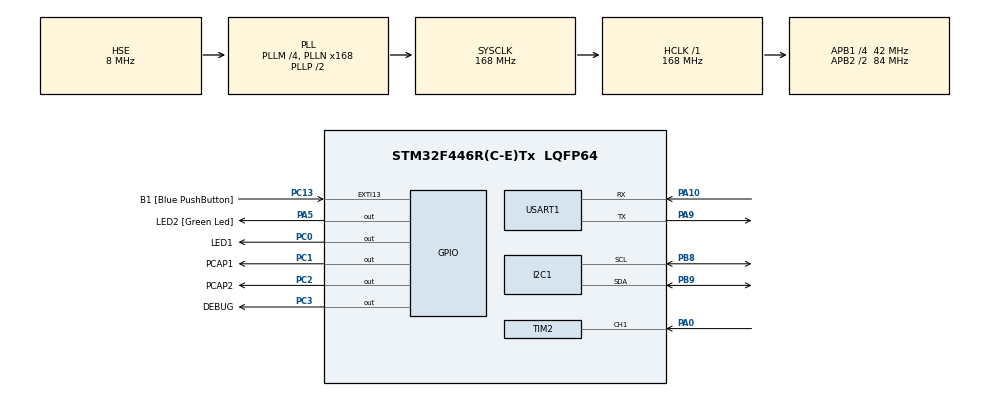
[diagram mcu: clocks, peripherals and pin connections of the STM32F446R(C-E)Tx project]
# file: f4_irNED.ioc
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Dma.Request0=USART1_TX
Dma.Request1=TIM2_CH1
Dma.TIM2_CH1.1.Direction=DMA_PERIPH_TO_MEMORY
Dma.TIM2_CH1.1.FIFOMode=DMA_FIFOMODE_DISABLE
Dma.TIM2_CH1.1.Instance=DMA1_Stream5
Dma.TIM2_CH1.1.MemDataAlignment=DMA_MDATAALIGN_WORD
Dma.TIM2_CH1.1.MemInc=DMA_MINC_ENABLE
Dma.TIM2_CH1.1.Mode=DMA_NORMAL
Dma.TIM2_CH1.1.PeriphDataAlignment=DMA_PDATAALIGN_WORD
Dma.TIM2_CH1.1.PeriphInc=DMA_PINC_DISABLE
Dma.TIM2_CH1.1.Priority=DMA_PRIORITY_MEDIUM
Dma.USART1_TX.0.Direction=DMA_MEMORY_TO_PERIPH
Dma.USART1_TX.0.FIFOMode=DMA_FIFOMODE_DISABLE
Dma.USART1_TX.0.Instance=DMA2_Stream7
Dma.USART1_TX.0.MemDataAlignment=DMA_MDATAALIGN_BYTE
Dma.USART1_TX.0.MemInc=DMA_MINC_ENABLE
Dma.USART1_TX.0.Mode=DMA_NORMAL
Dma.USART1_TX.0.PeriphDataAlignment=DMA_PDATAALIGN_BYTE
Dma.USART1_TX.0.PeriphInc=DMA_PINC_DISABLE
Dma.USART1_TX.0.Priority=DMA_PRIORITY_MEDIUM
FREERTOS.Tasks01=defaultTask,0,128,StartDefaultTask,Default,NULL
I2C1.I2C_Mode=I2C_Fast
Mcu.Family=STM32F4
Mcu.Name=STM32F446R(C-E)Tx
Mcu.Package=LQFP64
NVIC.DMA1_Stream5_IRQn=true\:5\:0\:false\:false\:true\:true
NVIC.DMA2_Stream7_IRQn=true\:5\:0\:false\:false\:true\:true
NVIC.PriorityGroup=NVIC_PRIORITYGROUP_4
NVIC.TIM1_UP_TIM10_IRQn=true\:0\:0\:false\:false\:true\:false
NVIC.TIM2_IRQn=true\:5\:0\:false\:false\:true\:true
NVIC.TimeBase=TIM1_UP_TIM10_IRQn
NVIC.TimeBaseIP=TIM10
PA0-WKUP.GPIO_Speed=GPIO_SPEED_FREQ_HIGH
PA0-WKUP.Signal=S_TIM2_CH1_ETR
PA10.Mode=Asynchronous
PA10.Signal=USART1_RX
PA13.GPIO_Label=TMS
PA13.Mode=Serial_Wire
PA13.Signal=SYS_JTMS-SWDIO
PA14.GPIO_Label=TCK
PA14.Mode=Serial_Wire
PA14.Signal=SYS_JTCK-SWCLK
PA2.GPIO_Label=USART_TX
PA2.Signal=USART2_TX
PA3.GPIO_Label=USART_RX
PA3.Signal=USART2_RX
PA5.GPIO_Label=LED2 [Green Led]
PA5.GPIO_Speed=GPIO_SPEED_FREQ_HIGH
PA5.Signal=GPIO_Output
PA9.Mode=Asynchronous
PA9.Signal=USART1_TX
PB3.GPIO_Label=SWO
PB3.Signal=SYS_JTDO-SWO
PB8.Mode=I2C
PB8.Signal=I2C1_SCL
PB9.Mode=I2C
PB9.Signal=I2C1_SDA
PC0.GPIO_Label=LED1
PC0.GPIO_Speed=GPIO_SPEED_FREQ_HIGH
PC0.Signal=GPIO_Output
PC1.GPIO_Label=PCAP1
PC1.GPIO_Speed=GPIO_SPEED_FREQ_HIGH
PC1.Signal=GPIO_Output
PC13.GPIO_Label=B1 [Blue PushButton]
PC13.GPIO_ModeDefaultEXTI=GPIO_MODE_IT_FALLING
PC13.Signal=GPXTI13
PC14-OSC32_IN.Signal=RCC_OSC32_IN
PC15-OSC32_OUT.Signal=RCC_OSC32_OUT
PC2.GPIO_Label=PCAP2
PC2.GPIO_Speed=GPIO_SPEED_FREQ_HIGH
PC2.Signal=GPIO_Output
PC3.GPIO_Label=DEBUG
PC3.GPIO_Speed=GPIO_SPEED_FREQ_HIGH
PC3.Signal=GPIO_Output
PH0-OSC_IN.Mode=HSE-External-Oscillator
PH0-OSC_IN.Signal=RCC_OSC_IN
PH1-OSC_OUT.Mode=HSE-External-Oscillator
PH1-OSC_OUT.Signal=RCC_OSC_OUT
ProjectManager.HeapSize=0x200
ProjectManager.StackSize=0x400
ProjectManager.TargetToolchain=SW4STM32
RCC.AHBFreq_Value=168000000
RCC.APB1CLKDivider=RCC_HCLK_DIV4
RCC.APB1Freq_Value=42000000
RCC.APB1TimFreq_Value=84000000
RCC.APB2CLKDivider=RCC_HCLK_DIV2
RCC.APB2Freq_Value=84000000
RCC.APB2TimFreq_Value=168000000
RCC.CortexFreq_Value=168000000
RCC.FLatency-AdvancedSettings=FLASH_LATENCY_5
RCC.HCLKFreq_Value=168000000
RCC.HSE_VALUE=8000000
RCC.HSI_VALUE=16000000
RCC.LSE_VALUE=32768
RCC.PLLM=4
RCC.PLLN=168
RCC.PLLSourceVirtual=RCC_PLLSOURCE_HSE
RCC.SYSCLKFreq_VALUE=168000000
RCC.SYSCLKSource=RCC_SYSCLKSOURCE_PLLCLK
RCC.USBFreq_Value=168000000
RCC.VCOOutputFreq_Value=336000000
SH.S_TIM2_CH1_ETR.0=TIM2_CH1,Input_Capture1_from_TI1
SH.S_TIM2_CH1_ETR.1=TIM2_CH1,TriggerSource_TI1FP1
TIM2.Channel-Input_Capture1_from_TI1=TIM_CHANNEL_1
TIM2.ICPolarity_CH1=TIM_INPUTCHANNELPOLARITY_FALLING
TIM2.Period=0xffffffff
TIM2.Prescaler=83
USART1.VirtualMode=VM_ASYNC
VP_FREERTOS_VS_ENABLE.Mode=Enabled
VP_RTC_VS_RTC_Activate.Mode=RTC_Enabled
VP_SYS_VS_tim10.Mode=TIM10
VP_TIM2_VS_ClockSourceINT.Mode=Internal
VP_TIM2_VS_ControllerModeReset.Mode=Reset Mode
board=NUCLEO-F446RE

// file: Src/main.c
/**
  ******************************************************************************
  * File Name          : main.c
  * Description        : Main program body
  ******************************************************************************
  * This notice applies to any and all portions of this file
  * that are not between comment pairs USER CODE BEGIN and
  * USER CODE END. Other portions of this file, whether
  * inserted by the user or by software development tools
  * are owned by their respective copyright owners.
  *
  * Copyright (c) 2017 STMicroelectronics International N.V.
  * All rights reserved.
  *
  * Redistribution and use in source and binary forms, with or without
  * modification, are permitted, provided that the following conditions are met:
  *
  * 1. Redistribution of source code must retain the above copyright notice,
  *    this list of conditions and the following disclaimer.
  * 2. Redistributions in binary form must reproduce the above copyright notice,
  *    this list of conditions and the following disclaimer in the documentation
  *    and/or other materials provided with the distribution.
  * 3. Neither the name of STMicroelectronics nor the names of other
  *    contributors to this software may be used to endorse or promote products
  *    derived from this software without specific written permission.
  * 4. This software, including modifications and/or derivative works of this
  *    software, must execute solely and exclusively on microcontroller or
  *    microprocessor devices manufactured by or for STMicroelectronics.
  * 5. Redistribution and use of this software other than as permitted under
  *    this license is void and will automatically terminate your rights under
  *    this license.
  *
  * THIS SOFTWARE IS PROVIDED BY STMICROELECTRONICS AND CONTRIBUTORS "AS IS"
  * AND ANY EXPRESS, IMPLIED OR STATUTORY WARRANTIES, INCLUDING, BUT NOT
  * LIMITED TO, THE IMPLIED WARRANTIES OF MERCHANTABILITY, FITNESS FOR A
  * PARTICULAR PURPOSE AND NON-INFRINGEMENT OF THIRD PARTY INTELLECTUAL PROPERTY
  * RIGHTS ARE DISCLAIMED TO THE FULLEST EXTENT PERMITTED BY LAW. IN NO EVENT
  * SHALL STMICROELECTRONICS OR CONTRIBUTORS BE LIABLE FOR ANY DIRECT, INDIRECT,
  * INCIDENTAL, SPECIAL, EXEMPLARY, OR CONSEQUENTIAL DAMAGES (INCLUDING, BUT NOT
  * LIMITED TO, PROCUREMENT OF SUBSTITUTE GOODS OR SERVICES; LOSS OF USE, DATA,
  * OR PROFITS; OR BUSINESS INTERRUPTION) HOWEVER CAUSED AND ON ANY THEORY OF
  * LIABILITY, WHETHER IN CONTRACT, STRICT LIABILITY, OR TORT (INCLUDING
  * NEGLIGENCE OR OTHERWISE) ARISING IN ANY WAY OUT OF THE USE OF THIS SOFTWARE,
  * EVEN IF ADVISED OF THE POSSIBILITY OF SUCH DAMAGE.
  *
  ******************************************************************************
  */
#include "main.h"
#include "stm32f4xx_hal.h"
#include "cmsis_os.h"

/* USER CODE BEGIN Includes */
#include <string.h>
#include "../App/Project_App.h"

/* USER CODE END Includes */

I2C_HandleTypeDef hi2c1;

RTC_HandleTypeDef hrtc;

TIM_HandleTypeDef htim2;
DMA_HandleTypeDef hdma_tim2_ch1;

UART_HandleTypeDef huart1;
DMA_HandleTypeDef hdma_usart1_tx;

osThreadId defaultTaskHandle;

/* USER CODE BEGIN PV */
/* Private variables ---------------------------------------------------------*/
IR_handle_type_def *nec;
osThreadId myEventLogTaskHandle;
/* USER CODE END PV */

void SystemClock_Config(void);
static void MX_GPIO_Init(void);
static void MX_DMA_Init(void);
static void MX_RTC_Init(void);
static void MX_TIM2_Init(void);
static void MX_USART1_UART_Init(void);
static void MX_I2C1_Init(void);
void StartDefaultTask(void const * argument);

/* USER CODE BEGIN PFP */
/* Private function prototypes -----------------------------------------------*/

/* USER CODE END PFP */

/* USER CODE BEGIN 0 */
void myNecDecodedCallback(uint8_t* data, uint8_t len) {
    HAL_GPIO_TogglePin(LED1_GPIO_Port, LED1_Pin);
    LogOut("IR Code:");
	LCD_SetPos(0,1);
    uint8_t* pstr;
    for(int i=0;i<len;i++){
    	pstr = LogOut("%d ",data[i]);
    	LCD_String(pstr);
    }
    osDelay(10);
}

void myNecErrorCallback() {
	LogOutStr("Error!\n\r");
    HAL_Delay(10);
}

void myNecRepeatCallback() {
	LogOutStr("Repeat!\n\r");
    HAL_Delay(10);
}

/* USER CODE END 0 */

int main(void)
{

  /* MCU Configuration----------------------------------------------------------*/

  /* Reset of all peripherals, Initializes the Flash interface and the Systick. */
  HAL_Init();

  /* Configure the system clock */
  SystemClock_Config();

  /* Initialize all configured peripherals */
  MX_GPIO_Init();
  MX_DMA_Init();
  MX_RTC_Init();
  MX_TIM2_Init();
  MX_USART1_UART_Init();
  MX_I2C1_Init();

  /* USER CODE BEGIN 2 */
  	InitLogDev(&huart1);
	LogOutStr("Start!\n\r");
	LCD_ini(&hi2c1,0x7e);
	LCD_Clear();
	LCD_SetPos(0,0);
	LCD_String("Start!");
	nec = Get_IR_handle();

	nec->IR_GPIO_PORT = GPIOA;
	nec->IR_GPIO_PIN = GPIO_PIN_0;
	nec->IR_DecodedCallback = myNecDecodedCallback;
	nec->IR_ErrorCallback = myNecErrorCallback;
	nec->IR_RepeatCallback = myNecRepeatCallback;
	Init_IR(&htim2,NEC_DEC);

	LogOutStr("Init complete!\r\n");
    NEC_Read(nec);

  /* USER CODE END 2 */

  /* Create the thread(s) */
  /* definition and creation of defaultTask */
  osThreadDef(defaultTask, StartDefaultTask, osPriorityNormal, 0, 128);
  defaultTaskHandle = osThreadCreate(osThread(defaultTask), NULL);

  /* USER CODE BEGIN RTOS_THREADS */
  /* add threads, ... */
  osThreadDef(myEventLogTask, StartLoopIR, osPriorityNormal, 0, 128);
  myEventLogTaskHandle = osThreadCreate(osThread(myEventLogTask), NULL);
  /* USER CODE END RTOS_THREADS */

  /* Start scheduler */
  osKernelStart();

  /* We should never get here as control is now taken by the scheduler */

  /* Infinite loop */
  while (1)
  {

  /* USER CODE BEGIN 3 */
        HAL_GPIO_TogglePin(GPIOD, GPIO_PIN_12);
        HAL_Delay(100);
        HAL_GPIO_TogglePin(GPIOD, GPIO_PIN_13);
        HAL_Delay(100);

  }
  /* USER CODE END 3 */

}

/** System Clock Configuration
*/
void SystemClock_Config(void)
{

  RCC_OscInitTypeDef RCC_OscInitStruct;
  RCC_ClkInitTypeDef RCC_ClkInitStruct;
  RCC_PeriphCLKInitTypeDef PeriphClkInitStruct;

    /**Configure the main internal regulator output voltage
    */
  __HAL_RCC_PWR_CLK_ENABLE();

  __HAL_PWR_VOLTAGESCALING_CONFIG(PWR_REGULATOR_VOLTAGE_SCALE1);

    /**Initializes the CPU, AHB and APB busses clocks
    */
  RCC_OscInitStruct.OscillatorType = RCC_OSCILLATORTYPE_LSI|RCC_OSCILLATORTYPE_HSE;
  RCC_OscInitStruct.HSEState = RCC_HSE_ON;
  RCC_OscInitStruct.LSEState = RCC_LSE_OFF;
  RCC_OscInitStruct.LSIState = RCC_LSI_ON;
  RCC_OscInitStruct.PLL.PLLState = RCC_PLL_ON;
  RCC_OscInitStruct.PLL.PLLSource = RCC_PLLSOURCE_HSE;
  RCC_OscInitStruct.PLL.PLLM = 4;
  RCC_OscInitStruct.PLL.PLLN = 168;
  RCC_OscInitStruct.PLL.PLLP = RCC_PLLP_DIV2;
  RCC_OscInitStruct.PLL.PLLQ = 2;
  RCC_OscInitStruct.PLL.PLLR = 2;
  if (HAL_RCC_OscConfig(&RCC_OscInitStruct) != HAL_OK)
  {
    _Error_Handler(__FILE__, __LINE__);
  }

    /**Initializes the CPU, AHB and APB busses clocks
    */
  RCC_ClkInitStruct.ClockType = RCC_CLOCKTYPE_HCLK|RCC_CLOCKTYPE_SYSCLK
                              |RCC_CLOCKTYPE_PCLK1|RCC_CLOCKTYPE_PCLK2;
  RCC_ClkInitStruct.SYSCLKSource = RCC_SYSCLKSOURCE_PLLCLK;
  RCC_ClkInitStruct.AHBCLKDivider = RCC_SYSCLK_DIV1;
  RCC_ClkInitStruct.APB1CLKDivider = RCC_HCLK_DIV4;
  RCC_ClkInitStruct.APB2CLKDivider = RCC_HCLK_DIV2;

  if (HAL_RCC_ClockConfig(&RCC_ClkInitStruct, FLASH_LATENCY_5) != HAL_OK)
  {
    _Error_Handler(__FILE__, __LINE__);
  }

  PeriphClkInitStruct.PeriphClockSelection = RCC_PERIPHCLK_RTC;
  PeriphClkInitStruct.RTCClockSelection = RCC_RTCCLKSOURCE_LSI;
  if (HAL_RCCEx_PeriphCLKConfig(&PeriphClkInitStruct) != HAL_OK)
  {
    _Error_Handler(__FILE__, __LINE__);
  }

    /**Configure the Systick interrupt time
    */
  HAL_SYSTICK_Config(HAL_RCC_GetHCLKFreq()/1000);

    /**Configure the Systick
    */
  HAL_SYSTICK_CLKSourceConfig(SYSTICK_CLKSOURCE_HCLK);

  /* SysTick_IRQn interrupt configuration */
  HAL_NVIC_SetPriority(SysTick_IRQn, 15, 0);
}

/* I2C1 init function */
static void MX_I2C1_Init(void)
{

  hi2c1.Instance = I2C1;
  hi2c1.Init.ClockSpeed = 400000;
  hi2c1.Init.DutyCycle = I2C_DUTYCYCLE_2;
  hi2c1.Init.OwnAddress1 = 0;
  hi2c1.Init.AddressingMode = I2C_ADDRESSINGMODE_7BIT;
  hi2c1.Init.DualAddressMode = I2C_DUALADDRESS_DISABLE;
  hi2c1.Init.OwnAddress2 = 0;
  hi2c1.Init.GeneralCallMode = I2C_GENERALCALL_DISABLE;
  hi2c1.Init.NoStretchMode = I2C_NOSTRETCH_DISABLE;
  if (HAL_I2C_Init(&hi2c1) != HAL_OK)
  {
    _Error_Handler(__FILE__, __LINE__);
  }

}

/* RTC init function */
static void MX_RTC_Init(void)
{

    /**Initialize RTC Only
    */
  hrtc.Instance = RTC;
  hrtc.Init.HourFormat = RTC_HOURFORMAT_24;
  hrtc.Init.AsynchPrediv = 127;
  hrtc.Init.SynchPrediv = 255;
  hrtc.Init.OutPut = RTC_OUTPUT_DISABLE;
  hrtc.Init.OutPutPolarity = RTC_OUTPUT_POLARITY_HIGH;
  hrtc.Init.OutPutType = RTC_OUTPUT_TYPE_OPENDRAIN;
  if (HAL_RTC_Init(&hrtc) != HAL_OK)
  {
    _Error_Handler(__FILE__, __LINE__);
  }

}

/* TIM2 init function */
static void MX_TIM2_Init(void)
{

  TIM_ClockConfigTypeDef sClockSourceConfig;
  TIM_SlaveConfigTypeDef sSlaveConfig;
  TIM_MasterConfigTypeDef sMasterConfig;
  TIM_IC_InitTypeDef sConfigIC;

  htim2.Instance = TIM2;
  htim2.Init.Prescaler = 83;
  htim2.Init.CounterMode = TIM_COUNTERMODE_UP;
  htim2.Init.Period = 0xffffffff;
  htim2.Init.ClockDivision = TIM_CLOCKDIVISION_DIV1;
  if (HAL_TIM_Base_Init(&htim2) != HAL_OK)
  {
    _Error_Handler(__FILE__, __LINE__);
  }

  sClockSourceConfig.ClockSource = TIM_CLOCKSOURCE_INTERNAL;
  if (HAL_TIM_ConfigClockSource(&htim2, &sClockSourceConfig) != HAL_OK)
  {
    _Error_Handler(__FILE__, __LINE__);
  }

  if (HAL_TIM_IC_Init(&htim2) != HAL_OK)
  {
    _Error_Handler(__FILE__, __LINE__);
  }

  sSlaveConfig.SlaveMode = TIM_SLAVEMODE_RESET;
  sSlaveConfig.InputTrigger = TIM_TS_TI1FP1;
  sSlaveConfig.TriggerPolarity = TIM_INPUTCHANNELPOLARITY_FALLING;
  sSlaveConfig.TriggerFilter = 0;
  if (HAL_TIM_SlaveConfigSynchronization(&htim2, &sSlaveConfig) != HAL_OK)
  {
    _Error_Handler(__FILE__, __LINE__);
  }

  sMasterConfig.MasterOutputTrigger = TIM_TRGO_RESET;
  sMasterConfig.MasterSlaveMode = TIM_MASTERSLAVEMODE_DISABLE;
  if (HAL_TIMEx_MasterConfigSynchronization(&htim2, &sMasterConfig) != HAL_OK)
  {
    _Error_Handler(__FILE__, __LINE__);
  }

  sConfigIC.ICPolarity = TIM_INPUTCHANNELPOLARITY_FALLING;
  sConfigIC.ICSelection = TIM_ICSELECTION_DIRECTTI;
  sConfigIC.ICPrescaler = TIM_ICPSC_DIV1;
  sConfigIC.ICFilter = 0;
  if (HAL_TIM_IC_ConfigChannel(&htim2, &sConfigIC, TIM_CHANNEL_1) != HAL_OK)
  {
    _Error_Handler(__FILE__, __LINE__);
  }

}

/* USART1 init function */
static void MX_USART1_UART_Init(void)
{

  huart1.Instance = USART1;
  huart1.Init.BaudRate = 115200;
  huart1.Init.WordLength = UART_WORDLENGTH_8B;
  huart1.Init.StopBits = UART_STOPBITS_1;
  huart1.Init.Parity = UART_PARITY_NONE;
  huart1.Init.Mode = UART_MODE_TX_RX;
  huart1.Init.HwFlowCtl = UART_HWCONTROL_NONE;
  huart1.Init.OverSampling = UART_OVERSAMPLING_16;
  if (HAL_UART_Init(&huart1) != HAL_OK)
  {
    _Error_Handler(__FILE__, __LINE__);
  }

}

static void MX_DMA_Init(void)
{
  /* DMA controller clock enable */
  __HAL_RCC_DMA1_CLK_ENABLE();
  __HAL_RCC_DMA2_CLK_ENABLE();

  /* DMA interrupt init */
  /* DMA1_Stream5_IRQn interrupt configuration */
  HAL_NVIC_SetPriority(DMA1_Stream5_IRQn, 5, 0);
  HAL_NVIC_EnableIRQ(DMA1_Stream5_IRQn);
  /* DMA2_Stream7_IRQn interrupt configuration */
  HAL_NVIC_SetPriority(DMA2_Stream7_IRQn, 5, 0);
  HAL_NVIC_EnableIRQ(DMA2_Stream7_IRQn);

}

/** Configure pins as
        * Analog
        * Input
        * Output
        * EVENT_OUT
        * EXTI
     PA2   ------> USART2_TX
     PA3   ------> USART2_RX
*/
static void MX_GPIO_Init(void)
{

  GPIO_InitTypeDef GPIO_InitStruct;

  /* GPIO Ports Clock Enable */
  __HAL_RCC_GPIOC_CLK_ENABLE();
  __HAL_RCC_GPIOH_CLK_ENABLE();
  __HAL_RCC_GPIOA_CLK_ENABLE();
  __HAL_RCC_GPIOB_CLK_ENABLE();

  /*Configure GPIO pin Output Level */
  HAL_GPIO_WritePin(GPIOC, LED1_Pin|PCAP1_Pin|PCAP2_Pin|DEBUG_Pin, GPIO_PIN_RESET);

  /*Configure GPIO pin Output Level */
  HAL_GPIO_WritePin(LED2_GPIO_Port, LED2_Pin, GPIO_PIN_RESET);

  /*Configure GPIO pin : B1_Pin */
  GPIO_InitStruct.Pin = B1_Pin;
  GPIO_InitStruct.Mode = GPIO_MODE_IT_FALLING;
  GPIO_InitStruct.Pull = GPIO_NOPULL;
  HAL_GPIO_Init(B1_GPIO_Port, &GPIO_InitStruct);

  /*Configure GPIO pins : LED1_Pin PCAP1_Pin PCAP2_Pin DEBUG_Pin */
  GPIO_InitStruct.Pin = LED1_Pin|PCAP1_Pin|PCAP2_Pin|DEBUG_Pin;
  GPIO_InitStruct.Mode = GPIO_MODE_OUTPUT_PP;
  GPIO_InitStruct.Pull = GPIO_NOPULL;
  GPIO_InitStruct.Speed = GPIO_SPEED_FREQ_HIGH;
  HAL_GPIO_Init(GPIOC, &GPIO_InitStruct);

  /*Configure GPIO pins : USART_TX_Pin USART_RX_Pin */
  GPIO_InitStruct.Pin = USART_TX_Pin|USART_RX_Pin;
  GPIO_InitStruct.Mode = GPIO_MODE_AF_PP;
  GPIO_InitStruct.Pull = GPIO_NOPULL;
  GPIO_InitStruct.Speed = GPIO_SPEED_FREQ_VERY_HIGH;
  GPIO_InitStruct.Alternate = GPIO_AF7_USART2;
  HAL_GPIO_Init(GPIOA, &GPIO_InitStruct);

  /*Configure GPIO pin : LED2_Pin */
  GPIO_InitStruct.Pin = LED2_Pin;
  GPIO_InitStruct.Mode = GPIO_MODE_OUTPUT_PP;
  GPIO_InitStruct.Pull = GPIO_NOPULL;
  GPIO_InitStruct.Speed = GPIO_SPEED_FREQ_HIGH;
  HAL_GPIO_Init(LED2_GPIO_Port, &GPIO_InitStruct);

}

/* StartDefaultTask function */
void StartDefaultTask(void const * argument)
{

  for(;;)
  {
    osDelay(1);
  }
}

void HAL_TIM_PeriodElapsedCallback(TIM_HandleTypeDef *htim)
{
  if (htim->Instance == TIM10) {
    HAL_IncTick();
  }
}

void _Error_Handler(char * file, int line)
{
  while(1)
  {
  }
}

/************************ (C) COPYRIGHT STMicroelectronics *****END OF FILE****/
